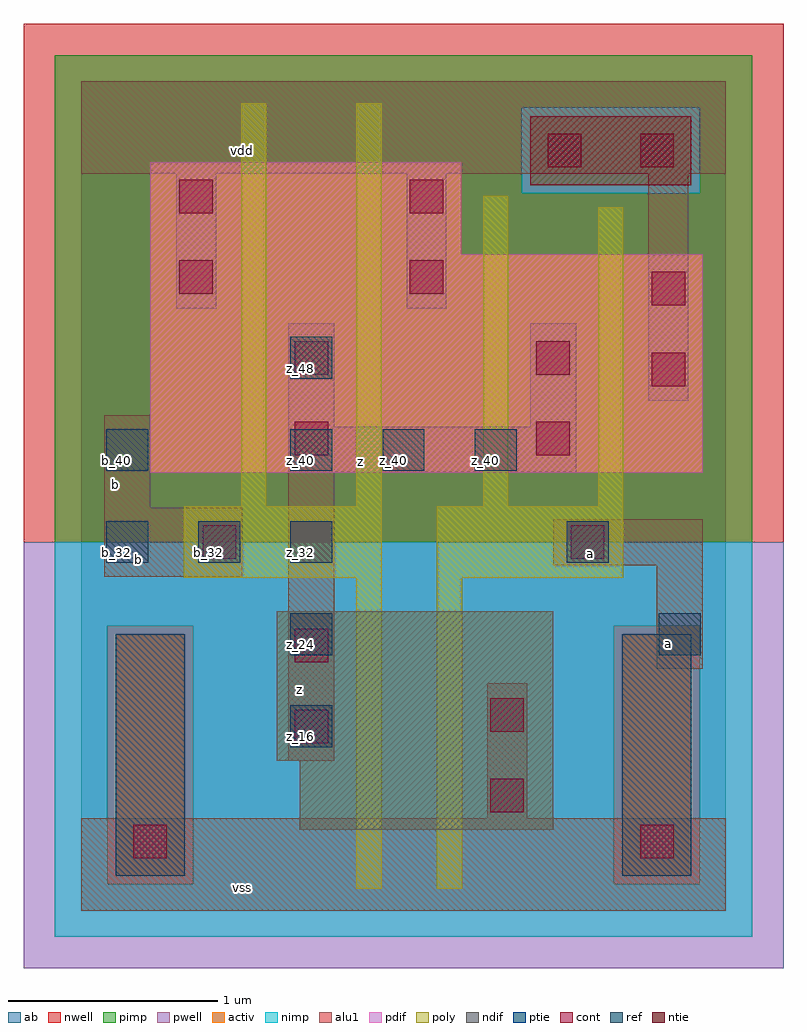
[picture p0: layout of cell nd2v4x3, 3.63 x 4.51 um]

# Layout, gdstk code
import gdstk
lib = gdstk.Library(unit=1e-6, precision=2.5e-09)
def R(c, l, rs):  # rectangles x0, y0, x1, y1
    for r in rs: c.add(gdstk.rectangle(r[:2], r[2:], *l))
def A(c, l, x, y, w, h, nx, ny, dx, dy):  # array of equal rectangles
    R(c, l, [(x+i*dx, y+j*dy, x+i*dx+w, y+j*dy+h) for i in range(nx) for j in range(ny)])
ndif = (3, 0)
pdif = (4, 0)
ntie = (5, 0)
ptie = (6, 0)
ref = (24, 0)
cont = (25, 0)
pwell = (41, 0)
nwell = (42, 0)
activ = (43, 0)
pimp = (44, 0)
nimp = (45, 0)
poly = (46, 0)
alu1 = (49, 0)
ab = (63, 0)

nd2v4x3 = lib.new_cell('nd2v4x3')
R(nd2v4x3, ndif, [(1.045,0.385,2.255,0.715), (0.935,0.715,2.255,1.43)])
R(nd2v4x3, pdif, [(0.33,2.09,2.97,3.135), (0.33,3.135,1.815,3.575)])
R(nd2v4x3, ntie, [(2.145,3.465,2.915,3.795)])
R(nd2v4x3, ptie, [(0.165,0.165,0.495,1.32), (2.585,0.165,2.915,1.32)])
A(nd2v4x3, ref, 0.12, 1.66, 0.2, 0.2, 3, 1, 0.44, 0)
A(nd2v4x3, ref, 1, 2.1, 0.2, 0.2, 3, 1, 0.44, 0)
R(nd2v4x3, ref, [(1,0.78,1.2,0.98), (1,1.22,1.2,1.42), (2.76,1.22,2.96,1.42), (2.32,1.66,2.52,1.86), (0.12,2.1,0.32,2.3), (1,2.54,1.2,2.74)])
R(nd2v4x3, cont, [(0.25,0.25,0.41,0.41), (2.67,0.25,2.83,0.41), (1.955,0.47,2.115,0.63), (1.02,0.8,1.18,0.96), (1.955,0.855,2.115,1.015), (1.02,1.185,1.18,1.345), (0.58,1.68,0.74,1.84), (2.34,1.68,2.5,1.84), (1.02,2.175,1.18,2.335), (2.175,2.175,2.335,2.335), (2.725,2.505,2.885,2.665), (1.02,2.56,1.18,2.72), (2.175,2.56,2.335,2.72), (2.725,2.89,2.885,3.05), (0.47,2.945,0.63,3.105), (1.57,2.945,1.73,3.105), (0.47,3.33,0.63,3.49), (1.57,3.33,1.73,3.49), (2.23,3.55,2.39,3.71), (2.67,3.55,2.83,3.71)])
R(nd2v4x3, pwell, [(-0.275,-0.275,3.355,1.76)])
R(nd2v4x3, nwell, [(-0.275,1.76,3.355,4.235)])
R(nd2v4x3, activ, [(0.165,0.165,0.495,1.32), (2.585,0.165,2.915,1.32), (1.045,0.385,2.255,0.715), (0.935,0.715,2.255,1.43), (0.33,2.09,2.97,3.135), (0.33,3.135,1.815,3.575), (2.145,3.465,2.915,3.795)])
R(nd2v4x3, pimp, [(0.125,0.125,0.535,1.36), (2.545,0.125,2.955,1.36), (-0.125,1.76,3.205,3.425), (-0.125,3.425,2.105,3.835), (2.955,3.425,3.205,3.835), (-0.125,3.835,3.205,4.085)])
R(nd2v4x3, nimp, [(-0.125,-0.125,3.205,0.125), (-0.125,0.125,0.125,1.36), (0.535,0.125,2.545,1.36), (2.955,0.125,3.205,1.36), (-0.125,1.36,3.205,1.76), (2.105,3.425,2.955,3.835)])
R(nd2v4x3, poly, [(1.315,0.105,1.435,1.59), (1.7,0.105,1.82,1.59), (0.49,1.59,1.435,1.93), (1.7,1.59,2.59,1.93), (0.765,1.93,0.885,3.855), (1.315,1.93,1.435,3.855), (1.92,1.93,2.04,3.415), (2.47,1.93,2.59,3.36)])
R(nd2v4x3, alu1, [(0,0,3.08,0.44), (1.94,0.44,2.13,1.085), (0.99,0.715,1.21,2.09), (2.75,1.155,2.97,1.65), (0.11,1.595,0.77,1.925), (2.255,1.65,2.97,1.87), (0.11,1.925,0.33,2.365), (0.99,2.09,2.365,2.31), (0.99,2.31,1.21,2.805), (2.145,2.31,2.365,2.805), (2.71,2.435,2.9,3.52), (0.455,2.875,0.645,3.52), (1.555,2.875,1.745,3.52), (0,3.52,3.08,3.96)])
R(nd2v4x3, ab, [(0,0,3.08,3.96)])
nd2v4x3.add(gdstk.Label('vss', (0.77,0.11), layer=49, texttype=0))
nd2v4x3.add(gdstk.Label('a', (2.805,1.2775), layer=49, texttype=0))
nd2v4x3.add(gdstk.Label('a', (2.4325,1.705), layer=49, texttype=0))
nd2v4x3.add(gdstk.Label('z', (1.045,1.0575), layer=49, texttype=0))
nd2v4x3.add(gdstk.Label('b', (0.275,1.6775), layer=49, texttype=0))
nd2v4x3.add(gdstk.Label('z', (1.3325,2.145), layer=49, texttype=0))
nd2v4x3.add(gdstk.Label('b', (0.165,2.035), layer=49, texttype=0))
nd2v4x3.add(gdstk.Label('vdd', (0.77,3.63), layer=49, texttype=0))
nd2v4x3.add(gdstk.Label('z_48', (1.05,2.59), layer=24, texttype=0))
nd2v4x3.add(gdstk.Label('z_32', (1.05,1.71), layer=24, texttype=0))
nd2v4x3.add(gdstk.Label('z_24', (1.05,1.27), layer=24, texttype=0))
nd2v4x3.add(gdstk.Label('z_40', (1.05,2.15), layer=24, texttype=0))
nd2v4x3.add(gdstk.Label('b_32', (0.17,1.71), layer=24, texttype=0))
nd2v4x3.add(gdstk.Label('b_32', (0.61,1.71), layer=24, texttype=0))
nd2v4x3.add(gdstk.Label('b_40', (0.17,2.15), layer=24, texttype=0))
nd2v4x3.add(gdstk.Label('a_32', (2.37,1.71), layer=24, texttype=0))
nd2v4x3.add(gdstk.Label('a_24', (2.81,1.27), layer=24, texttype=0))
nd2v4x3.add(gdstk.Label('z_40', (1.49,2.15), layer=24, texttype=0))
nd2v4x3.add(gdstk.Label('z_40', (1.93,2.15), layer=24, texttype=0))
nd2v4x3.add(gdstk.Label('z_16', (1.05,0.83), layer=24, texttype=0))

lib.write_gds('nd2v4x3.gds')
